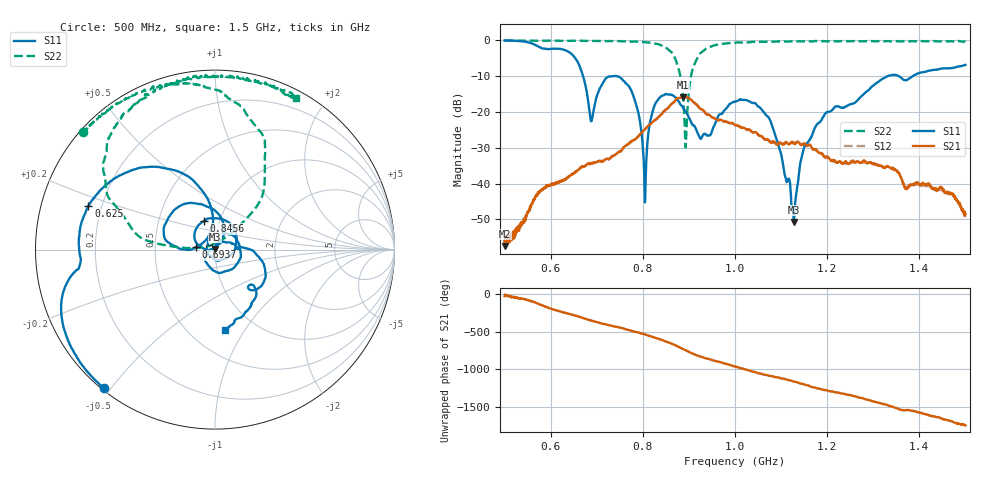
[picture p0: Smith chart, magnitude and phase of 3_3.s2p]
!Agilent Technologies,E8364B,US42250235,A.06.04.32
!Agilent E8364B: A.06.04.32
!Date: Friday, January 15, 2021 12:26:21
!Correction: S11(Full 2 Port(1,2)) S21(Full 2 Port(1,2)) S12(Full 2 Port(1,2)) S22(Full 2 Port(1,2))
!S2P File: Measurements: S11, S21, S12, S22:
# Hz S  dB  R 50
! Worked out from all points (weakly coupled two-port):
!   1601 points, 500 MHz to 1.5 GHz, reference 50 ohm
!   highest |S21| = -15.84 dB at 887.5 MHz (marker M1); lowest = -57.4 dB at 501.2 MHz (marker M2)
!   lowest |S11| = -50.7 dB at 1.127 GHz (marker M3), VSWR 1.01, Z = 49.9 + j0.282 ohm
!   |S11| at or under -10 dB: 670.2 MHz to 739 MHz (68.76 MHz wide, 9.76 % of centre); 741.6 MHz to 1.332 GHz (590.5 MHz wide, 56.9 % of centre); 1.355 GHz to 1.386 GHz (31.19 MHz wide, 2.28 % of centre) (the widest 3 of 4)
!   |S22| runs from -29.9 to -0.1 dB; largest |S21 - S12| = 0.0035
!   S11 on the Smith chart (normalised r, x): 500 MHz: 0.01, -0.48; 625 MHz: 0.15, +0.16; 693.8 MHz: 0.80, +0.02; 845.6 MHz: 0.85, +0.28; 1.5 GHz: 0.73, -0.82
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5e8  -0.09 -128.7  -55.94 -23.1  -56.74 -7.0  -0.14 138.4
5.0125e8  -0.09 -129.2  -57.44 -16.3  -57.46 -15.0  -0.15 138.3
6.25e8  -2.55 161.1  -39.10 123.1  -39.17 124.0  -0.19 126.4
6.66875e8  -8.68 104.8  -35.33 50.6  -35.48 49.7  -0.17 121.9
6.9375e8  -19.25 173.4  -34.20 -1.0  -34.25 -0.5  -0.21 118.5
7.225e8  -10.41 161.3  -33.14 -46.5  -33.12 -46.1  -0.28 114.7
7.66875e8  -12.47 98.2  -29.10 -112.1  -29.01 -110.8  -0.33 108.4
7.90625e8  -20.44 59.4  -26.76 -150.9  -26.65 -150.7  -0.48 103.1
8.04375e8  -45.28 102.9  -24.91 -175.0  -24.86 -175.5  -0.56 99.2
8.3375e8  -16.49 137.8  -21.50 126.4  -21.50 125.8  -1.11 87.6
8.45625e8  -15.36 110.5  -19.88 101.5  -19.88 99.9  -1.77 80.2
8.7375e8  -16.37 41.9  -16.32 30.8  -16.38 30.4  -6.42 54.5
8.875e8  -18.85 3.9  -15.84 -10.9  -15.90 -11.1  -16.24 44.7
8.94375e8  -20.21 -15.6  -15.90 -31.3  -15.91 -31.4  -26.04 160.1
9.0625e8  -23.37 -55.1  -16.80 -66.5  -16.84 -66.8  -8.96 173.1
9.2625e8  -27.50 -128.3  -19.24 -111.9  -19.21 -113.2  -3.49 153.3
1e9  -17.17 4.3  -23.72 116.7  -23.60 116.2  -0.74 120.4
1.074375e9  -21.82 -133.5  -28.20 -8.4  -28.12 -6.5  -0.42 108.3
1.1275e9  -50.72 104.3  -28.75 -83.8  -28.65 -82.1  -0.38 102.5
1.166875e9  -26.69 51.3  -30.01 -157.0  -30.10 -154.4  -0.36 97.6
1.33375e9  -9.92 -27.8  -35.36 -46.1  -35.63 -45.4  -0.29 80.8
1.5e9  -6.90 -82.8  -48.54 50.0  -49.45 54.3  -0.35 61.8
